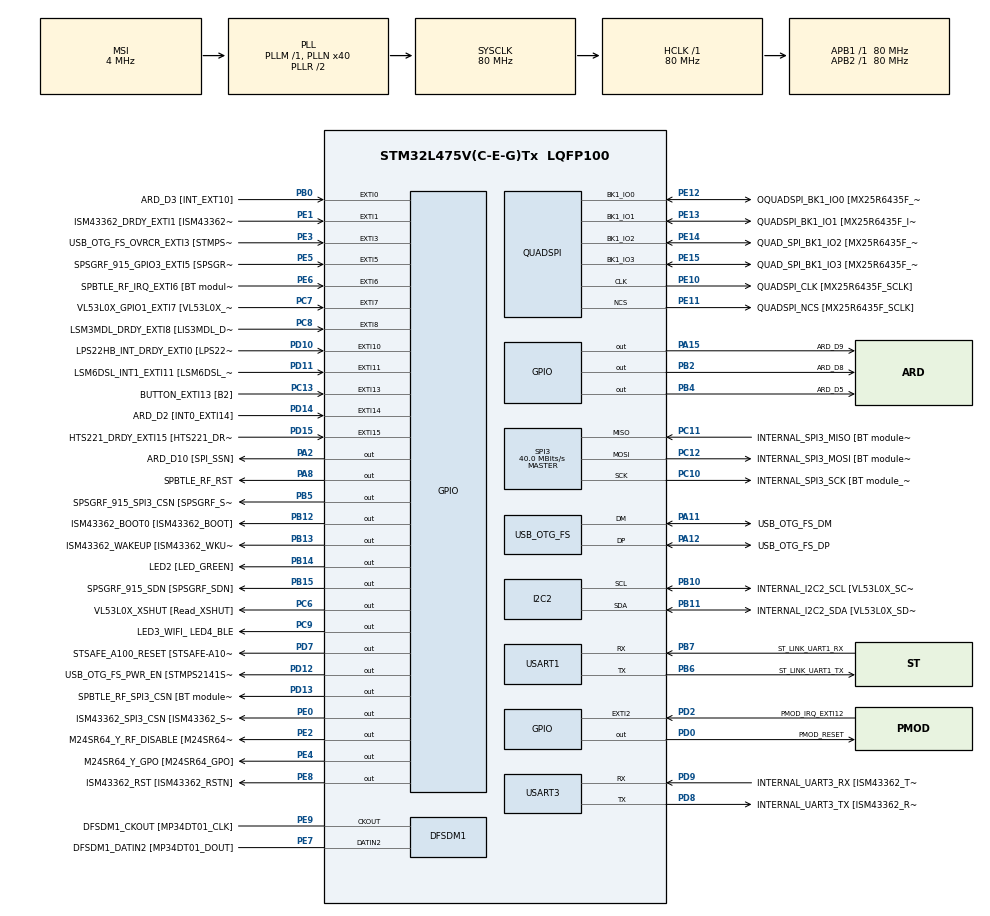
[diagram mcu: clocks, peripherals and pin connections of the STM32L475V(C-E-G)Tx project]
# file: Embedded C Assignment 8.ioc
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Mcu.Family=STM32L4
Mcu.Name=STM32L475V(C-E-G)Tx
Mcu.Package=LQFP100
NVIC.EXTI15_10_IRQn=true\:0\:0\:false\:false\:true\:true\:true\:true
NVIC.EXTI9_5_IRQn=true\:0\:0\:false\:false\:true\:true\:true\:true
NVIC.PriorityGroup=NVIC_PRIORITYGROUP_4
PA0.GPIO_Label=ARD_D1 [UART4_TX]
PA0.Signal=UART4_TX
PA1.GPIO_Label=ARD_D0 [UART4_RX]
PA1.Signal=UART4_RX
PA10.GPIO_Label=USB_OTG_FS_ID
PA10.Signal=USB_OTG_FS_ID
PA11.GPIO_Label=USB_OTG_FS_DM
PA11.Mode=Device_Only
PA11.Signal=USB_OTG_FS_DM
PA12.GPIO_Label=USB_OTG_FS_DP
PA12.Mode=Device_Only
PA12.Signal=USB_OTG_FS_DP
PA13\ (JTMS-SWDIO).GPIO_Label=SYS_JTMS_SWDIO
PA13\ (JTMS-SWDIO).Mode=Serial_Wire
PA13\ (JTMS-SWDIO).Signal=SYS_JTMS-SWDIO
PA14\ (JTCK-SWCLK).GPIO_Label=SYS_JTCK_SWCLK
PA14\ (JTCK-SWCLK).Mode=Serial_Wire
PA14\ (JTCK-SWCLK).Signal=SYS_JTCK-SWCLK
PA15\ (JTDI).GPIO_Label=ARD_D9
PA15\ (JTDI).Signal=GPIO_Output
PA2.GPIO_Label=ARD_D10 [SPI_SSN]
PA2.Signal=GPIO_Output
PA3.GPIO_Label=ARD_D4
PA3.Signal=S_TIM2_CH4
PA4.GPIO_Label=ARD_D7
PA4.Signal=ADCx_IN9
PA5.GPIO_Label=ARD_D13 [SPI1_SCK]
PA5.Signal=SPI1_SCK
PA6.GPIO_Label=ARD_D12 [SPI1_MISO]
PA6.Signal=SPI1_MISO
PA7.GPIO_Label=ARD_D11 [SPI1_MOSI]
PA7.Signal=SPI1_MOSI
PA8.GPIO_Label=SPBTLE_RF_RST
PA8.Signal=GPIO_Output
PA9.GPIO_Label=USB_OTG_FS_VBUS [STMPS2141STR_OUT]
PA9.Signal=USB_OTG_FS_VBUS
PB0.GPIO_Label=ARD_D3 [INT_EXT10]
PB0.Signal=GPXTI0
PB1.GPIO_Label=ARD_D6 [ADC1_IN6]
PB1.Signal=ADCx_IN16
PB10.GPIO_Label=INTERNAL_I2C2_SCL [VL53L0X_SCL]
PB10.GPIO_Pu=GPIO_PULLUP
PB10.Mode=I2C
PB10.Signal=I2C2_SCL
PB11.GPIO_Label=INTERNAL_I2C2_SDA [VL53L0X_SDA]
PB11.GPIO_Pu=GPIO_PULLUP
PB11.Mode=I2C
PB11.Signal=I2C2_SDA
PB12.GPIO_Label=ISM43362_BOOT0 [ISM43362_BOOT]
PB12.Signal=GPIO_Output
PB13.GPIO_Label=ISM43362_WAKEUP [ISM43362_WKUP]
PB13.Signal=GPIO_Output
PB14.GPIO_Label=LED2 [LED_GREEN]
PB14.Signal=GPIO_Output
PB15.GPIO_Label=SPSGRF_915_SDN [SPSGRF_SDN]
PB15.Signal=GPIO_Output
PB2.GPIO_Label=ARD_D8
PB2.Signal=GPIO_Output
PB3\ (JTDO-TRACESWO).GPIO_Label=SYS_JTD0_SWO
PB3\ (JTDO-TRACESWO).Signal=SYS_JTDO-SWO
PB4\ (NJTRST).GPIO_Label=ARD_D5
PB4\ (NJTRST).Signal=GPIO_Output
PB5.GPIO_Label=SPSGRF_915_SPI3_CSN [SPSGRF_SPI_CS]
PB5.PinState=GPIO_PIN_SET
PB5.Signal=GPIO_Output
PB6.GPIO_Label=ST_LINK_UART1_TX
PB6.Mode=Asynchronous
PB6.Signal=USART1_TX
PB7.GPIO_Label=ST_LINK_UART1_RX
PB7.Mode=Asynchronous
PB7.Signal=USART1_RX
PB8.GPIO_Label=ARD_D15 [I2C1_SCL]
PB8.Signal=I2C1_SCL
PB9.GPIO_Label=ARD_D14 [I2C1_SDA]
PB9.Signal=I2C1_SDA
PC0.GPIO_Label=ARD_A5 [ADC]
PC0.Signal=ADCx_IN1
PC1.GPIO_Label=ARD_A4 [ADC]
PC1.Signal=ADCx_IN2
PC10.GPIO_Label=INTERNAL_SPI3_SCK [BT module_SPI_SCLK] [ISM43362_SCK]
PC10.Mode=Full_Duplex_Master
PC10.Signal=SPI3_SCK
PC11.GPIO_Label=INTERNAL_SPI3_MISO [BT module_SPI_MISO] [ISM43362_MISO]
PC11.Mode=Full_Duplex_Master
PC11.Signal=SPI3_MISO
PC12.GPIO_Label=INTERNAL_SPI3_MOSI [BT module_SPI_MOSI] [ISM43362_MOSI]
PC12.Mode=Full_Duplex_Master
PC12.Signal=SPI3_MOSI
PC13.GPIO_Label=BUTTON_EXTI13 [B2]
PC13.GPIO_ModeDefaultEXTI=GPIO_MODE_IT_FALLING
PC13.Signal=GPXTI13
PC14-OSC32_IN\ (PC14).Mode=LSE-External-Oscillator
PC14-OSC32_IN\ (PC14).Signal=RCC_OSC32_IN
PC15-OSC32_OUT\ (PC15).Mode=LSE-External-Oscillator
PC15-OSC32_OUT\ (PC15).Signal=RCC_OSC32_OUT
PC2.GPIO_Label=ARD_A3 [ADC]
PC2.Signal=ADCx_IN3
PC3.GPIO_Label=ARD_A2 [ADC]
PC3.Signal=ADCx_IN4
PC4.GPIO_Label=ARD_A1 [ADC]
PC4.Signal=ADCx_IN13
PC5.GPIO_Label=ARD_A0 [ADC]
PC5.Signal=ADCx_IN14
PC6.GPIO_Label=VL53L0X_XSHUT [Read_XSHUT]
PC6.Signal=GPIO_Output
PC7.GPIO_Label=VL53L0X_GPIO1_EXTI7 [VL53L0X_GPIO1]
PC7.Signal=GPXTI7
PC8.GPIO_Label=LSM3MDL_DRDY_EXTI8 [LIS3MDL_DRDY]
PC8.Signal=GPXTI8
PC9.GPIO_Label=LED3_WIFI_ LED4_BLE
PC9.Signal=GPIO_Output
PD0.GPIO_Label=PMOD_RESET
PD0.Signal=GPIO_Output
PD1.GPIO_Label=PMOD_SPI2_SCK
PD1.Signal=SPI2_SCK
PD10.GPIO_Label=LPS22HB_INT_DRDY_EXTI0 [LPS22HB_INT_DRDY] 
PD10.Signal=GPXTI10
PD11.GPIO_Label=LSM6DSL_INT1_EXTI11 [LSM6DSL_INT1]
PD11.Signal=GPXTI11
PD12.GPIO_Label=USB_OTG_FS_PWR_EN [STMPS2141STR_EN]
PD12.Signal=GPIO_Output
PD13.GPIO_Label=SPBTLE_RF_SPI3_CSN [BT module_SPI_CS]
PD13.PinState=GPIO_PIN_SET
PD13.Signal=GPIO_Output
PD14.GPIO_Label=ARD_D2 [INT0_EXTI14]
PD14.Signal=GPXTI14
PD15.GPIO_Label=HTS221_DRDY_EXTI15 [HTS221_DRDY]
PD15.Signal=GPXTI15
PD2.GPIO_Label=PMOD_IRQ_EXTI12
PD2.Signal=GPXTI2
PD3.GPIO_Label=PMOD_UART2_CTS
PD3.Signal=USART2_CTS
PD4.GPIO_Label=PMOD_UART2_RTS
PD4.Signal=USART2_RTS
PD5.GPIO_Label=PMOD_UART2_TX
PD5.Signal=USART2_TX
PD6.GPIO_Label=PMOD_UART2_RX
PD6.Signal=USART2_RX
PD7.GPIO_Label=STSAFE_A100_RESET [STSAFE-A100_RESET]
PD7.Signal=GPIO_Output
PD8.GPIO_Label=INTERNAL_UART3_TX [ISM43362_RX]
PD8.Mode=Asynchronous
PD8.Signal=USART3_TX
PD9.GPIO_Label=INTERNAL_UART3_RX [ISM43362_TX]
PD9.Mode=Asynchronous
PD9.Signal=USART3_RX
PE0.GPIO_Label=ISM43362_SPI3_CSN [ISM43362_SSN]
PE0.PinState=GPIO_PIN_SET
PE0.Signal=GPIO_Output
PE1.GPIO_Label=ISM43362_DRDY_EXTI1 [ISM43362_DATARDY]
PE1.Signal=GPXTI1
PE10.GPIO_Label=QUADSPI_CLK [MX25R6435F_SCLK]
PE10.Mode=Single Bank
PE10.Signal=QUADSPI_CLK
PE11.GPIO_Label=QUADSPI_NCS [MX25R6435F_SCLK]
PE11.Mode=Single Bank
PE11.Signal=QUADSPI_NCS
PE12.GPIO_Label=OQUADSPI_BK1_IO0 [MX25R6435F_IO0]
PE12.Mode=Single Bank
PE12.Signal=QUADSPI_BK1_IO0
PE13.GPIO_Label=QUADSPI_BK1_IO1 [MX25R6435F_IO1]
PE13.Mode=Single Bank
PE13.Signal=QUADSPI_BK1_IO1
PE14.GPIO_Label=QUAD_SPI_BK1_IO2 [MX25R6435F_IO2]
PE14.Mode=Single Bank
PE14.Signal=QUADSPI_BK1_IO2
PE15.GPIO_Label=QUAD_SPI_BK1_IO3 [MX25R6435F_IO3]
PE15.Mode=Single Bank
PE15.Signal=QUADSPI_BK1_IO3
PE2.GPIO_Label=M24SR64_Y_RF_DISABLE [M24SR64_RFDIS]
PE2.Signal=GPIO_Output
PE3.GPIO_Label=USB_OTG_FS_OVRCR_EXTI3 [STMPS2141STR_FAULT]
PE3.Signal=GPXTI3
PE4.GPIO_Label=M24SR64_Y_GPO [M24SR64_GPO]
PE4.Signal=GPIO_Output
PE5.GPIO_Label=SPSGRF_915_GPIO3_EXTI5 [SPSGRF_GPIO_3]
PE5.Signal=GPXTI5
PE6.GPIO_Label=SPBTLE_RF_IRQ_EXTI6 [BT module_SPI_IRQ]
PE6.Signal=GPXTI6
PE7.GPIO_Label=DFSDM1_DATIN2 [MP34DT01_DOUT]
PE7.Signal=S_DATAIN2DFSDM1
PE8.GPIO_Label=ISM43362_RST [ISM43362_RSTN]
PE8.Signal=GPIO_Output
PE9.GPIO_Label=DFSDM1_CKOUT [MP34DT01_CLK]
PE9.Signal=S_CKOUTDFSDM1
ProjectManager.HeapSize=0x200
ProjectManager.StackSize=0x400
ProjectManager.TargetToolchain=STM32CubeIDE
QUADSPI.ClockPrescaler=2
QUADSPI.FifoThreshold=4
QUADSPI.FlashSize=23
QUADSPI.SampleShifting=QSPI_SAMPLE_SHIFTING_HALFCYCLE
RCC.ADCFreq_Value=48000000
RCC.AHBFreq_Value=80000000
RCC.APB1Freq_Value=80000000
RCC.APB1TimFreq_Value=80000000
RCC.APB2Freq_Value=80000000
RCC.APB2TimFreq_Value=80000000
RCC.CortexFreq_Value=80000000
RCC.HCLKFreq_Value=80000000
RCC.HSE_VALUE=8000000
RCC.HSI_VALUE=16000000
RCC.MSI_VALUE=4000000
RCC.PLLN=40
RCC.PLLSAI1N=24
RCC.SYSCLKFreq_VALUE=80000000
RCC.SYSCLKSource=RCC_SYSCLKSOURCE_PLLCLK
RCC.USBFreq_Value=48000000
RCC.VCOOutputFreq_Value=160000000
SH.ADCx_IN1.0=ADC1_IN1
SH.ADCx_IN13.0=ADC1_IN13
SH.ADCx_IN14.0=ADC1_IN14
SH.ADCx_IN16.0=ADC1_IN16
SH.ADCx_IN2.0=ADC1_IN2
SH.ADCx_IN3.0=ADC1_IN3
SH.ADCx_IN4.0=ADC1_IN4
SH.ADCx_IN9.0=ADC1_IN9
SH.S_CKOUTDFSDM1.0=DFSDM1_CKOUT,CKOUT
SH.S_CKOUTDFSDM1.1=DFSDM1_CKOUT,PDM_SPI_Input_from_ch12_and_Internal_Clock
SH.S_DATAIN2DFSDM1.0=DFSDM1_DATIN2,PDM_SPI_Input_from_ch12_and_Internal_Clock
SH.S_TIM2_CH4.0=TIM2_CH4
SPI3.CalculateBaudRate=40.0 MBits/s
SPI3.Direction=SPI_DIRECTION_2LINES
SPI3.Mode=SPI_MODE_MASTER
SPI3.VirtualType=VM_MASTER
USART1.VirtualMode-Asynchronous=VM_ASYNC
USART3.VirtualMode-Asynchronous=VM_ASYNC
USB_OTG_FS.VirtualMode=Device_Only
board=B-L475E-IOT01A2

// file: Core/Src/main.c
/* USER CODE BEGIN Header */
/**
  ******************************************************************************
  * @file           : main.c
  * @brief          : Main program body
  ******************************************************************************
  * @attention
  *
  * Copyright (c) 2023 STMicroelectronics.
  * All rights reserved.
  *
  * This software is licensed under terms that can be found in the LICENSE file
  * in the root directory of this software component.
  * If no LICENSE file comes with this software, it is provided AS-IS.
  *
  ******************************************************************************
  */
/* USER CODE END Header */
#include "main.h"

/* USER CODE BEGIN Includes */
#include <stdio.h>
#include <math.h>
#include "user_hts221.h"

/* USER CODE END Includes */

DFSDM_Channel_HandleTypeDef hdfsdm1_channel1;

I2C_HandleTypeDef hi2c2;

QSPI_HandleTypeDef hqspi;

SPI_HandleTypeDef hspi3;

UART_HandleTypeDef huart1;
UART_HandleTypeDef huart3;

PCD_HandleTypeDef hpcd_USB_OTG_FS;

void SystemClock_Config(void);
static void MX_GPIO_Init(void);
static void MX_DFSDM1_Init(void);
static void MX_I2C2_Init(void);
static void MX_QUADSPI_Init(void);
static void MX_SPI3_Init(void);
static void MX_USART1_UART_Init(void);
static void MX_USART3_UART_Init(void);
static void MX_USB_OTG_FS_PCD_Init(void);
/* USER CODE BEGIN PFP */
static void Temperature_Sensor_Init(uint16_t DeviceAddr);
static void Humidity_Sensor_Init(uint16_t DeviceAddr);
static void Sensor_Write_Multiple(uint8_t Addr, uint8_t Reg, uint8_t Value);
static uint8_t Sensor_Read(uint8_t Addr, uint8_t Reg);
static uint16_t Sensor_Read_Multiple(uint8_t Addr, uint8_t Reg, uint8_t *Buffer, uint16_t Length);
static HAL_StatusTypeDef I2Cx_WriteMultiple(I2C_HandleTypeDef *i2c_handler, uint8_t Addr, uint16_t Reg, uint16_t MemAddress, uint8_t *Buffer, uint16_t Length);
static HAL_StatusTypeDef I2Cx_ReadMultiple(I2C_HandleTypeDef *i2c_handler, uint8_t Addr, uint16_t Reg, uint16_t MemAddress, uint8_t *Buffer, uint16_t Length);
static float Read_Temp_Sensor(uint16_t DeviceAddr);
static float Read_Humidity_Sensor(uint16_t DeviceAddr);
/* USER CODE END PFP */

int main(void)
{

  /* MCU Configuration--------------------------------------------------------*/

  /* Reset of all peripherals, Initializes the Flash interface and the Systick. */
  HAL_Init();

  /* Configure the system clock */
  SystemClock_Config();

  /* Initialize all configured peripherals */
  MX_GPIO_Init();
  MX_DFSDM1_Init();
  MX_I2C2_Init();
  MX_QUADSPI_Init();
  MX_SPI3_Init();
  MX_USART1_UART_Init();
  MX_USART3_UART_Init();
  MX_USB_OTG_FS_PCD_Init();
  /* USER CODE BEGIN 2 */
  float temp_value = 0;
  float hum_value = 0;
  char str_tmp[100] = "";

  // HTS221 sensor init
  Humidity_Sensor_Init(HTS221_I2C_ADDRESS);
  Temperature_Sensor_Init(TSENSOR_I2C_ADDRESS);
  /* USER CODE END 2 */

  /* Infinite loop */
  while (1)
  {

    /* USER CODE BEGIN 3 */
	temp_value = Read_Temp_Sensor(TSENSOR_I2C_ADDRESS);
	int tmpInt1 = temp_value;
	float tmpFrac = temp_value - tmpInt1;
	int tmpInt2 = trunc(tmpFrac * 100);
	snprintf(str_tmp, 100, "TEMPERATURE = %d.%02d\n\r", tmpInt1, tmpInt2);
	HAL_UART_Transmit(&huart1, (uint8_t *)str_tmp, sizeof(str_tmp), 1000);

	hum_value = Read_Humidity_Sensor(HTS221_I2C_ADDRESS);
	int humInt1 = hum_value;
	float humFrac = hum_value - humInt1;
	int humInt2 = trunc(humFrac * 100);
	snprintf(str_tmp, 100, "HUMIDITY = %d.%02d\n\r", humInt1, humInt2);
	HAL_UART_Transmit(&huart1, (uint8_t *)str_tmp, sizeof(str_tmp), 1000);
	HAL_Delay(2000);
  }
  /* USER CODE END 3 */
}

void SystemClock_Config(void)
{
  RCC_OscInitTypeDef RCC_OscInitStruct = {0};
  RCC_ClkInitTypeDef RCC_ClkInitStruct = {0};

  /** Configure the main internal regulator output voltage
  */
  if (HAL_PWREx_ControlVoltageScaling(PWR_REGULATOR_VOLTAGE_SCALE1) != HAL_OK)
  {
    Error_Handler();
  }

  /** Configure LSE Drive Capability
  */
  HAL_PWR_EnableBkUpAccess();
  __HAL_RCC_LSEDRIVE_CONFIG(RCC_LSEDRIVE_LOW);

  /** Initializes the RCC Oscillators according to the specified parameters
  * in the RCC_OscInitTypeDef structure.
  */
  RCC_OscInitStruct.OscillatorType = RCC_OSCILLATORTYPE_LSE|RCC_OSCILLATORTYPE_MSI;
  RCC_OscInitStruct.LSEState = RCC_LSE_ON;
  RCC_OscInitStruct.MSIState = RCC_MSI_ON;
  RCC_OscInitStruct.MSICalibrationValue = 0;
  RCC_OscInitStruct.MSIClockRange = RCC_MSIRANGE_6;
  RCC_OscInitStruct.PLL.PLLState = RCC_PLL_ON;
  RCC_OscInitStruct.PLL.PLLSource = RCC_PLLSOURCE_MSI;
  RCC_OscInitStruct.PLL.PLLM = 1;
  RCC_OscInitStruct.PLL.PLLN = 40;
  RCC_OscInitStruct.PLL.PLLP = RCC_PLLP_DIV7;
  RCC_OscInitStruct.PLL.PLLQ = RCC_PLLQ_DIV2;
  RCC_OscInitStruct.PLL.PLLR = RCC_PLLR_DIV2;
  if (HAL_RCC_OscConfig(&RCC_OscInitStruct) != HAL_OK)
  {
    Error_Handler();
  }

  /** Initializes the CPU, AHB and APB buses clocks
  */
  RCC_ClkInitStruct.ClockType = RCC_CLOCKTYPE_HCLK|RCC_CLOCKTYPE_SYSCLK
                              |RCC_CLOCKTYPE_PCLK1|RCC_CLOCKTYPE_PCLK2;
  RCC_ClkInitStruct.SYSCLKSource = RCC_SYSCLKSOURCE_PLLCLK;
  RCC_ClkInitStruct.AHBCLKDivider = RCC_SYSCLK_DIV1;
  RCC_ClkInitStruct.APB1CLKDivider = RCC_HCLK_DIV1;
  RCC_ClkInitStruct.APB2CLKDivider = RCC_HCLK_DIV1;

  if (HAL_RCC_ClockConfig(&RCC_ClkInitStruct, FLASH_LATENCY_4) != HAL_OK)
  {
    Error_Handler();
  }

  /** Enable MSI Auto calibration
  */
  HAL_RCCEx_EnableMSIPLLMode();
}

static void MX_DFSDM1_Init(void)
{

  hdfsdm1_channel1.Instance = DFSDM1_Channel1;
  hdfsdm1_channel1.Init.OutputClock.Activation = ENABLE;
  hdfsdm1_channel1.Init.OutputClock.Selection = DFSDM_CHANNEL_OUTPUT_CLOCK_SYSTEM;
  hdfsdm1_channel1.Init.OutputClock.Divider = 2;
  hdfsdm1_channel1.Init.Input.Multiplexer = DFSDM_CHANNEL_EXTERNAL_INPUTS;
  hdfsdm1_channel1.Init.Input.DataPacking = DFSDM_CHANNEL_STANDARD_MODE;
  hdfsdm1_channel1.Init.Input.Pins = DFSDM_CHANNEL_FOLLOWING_CHANNEL_PINS;
  hdfsdm1_channel1.Init.SerialInterface.Type = DFSDM_CHANNEL_SPI_RISING;
  hdfsdm1_channel1.Init.SerialInterface.SpiClock = DFSDM_CHANNEL_SPI_CLOCK_INTERNAL;
  hdfsdm1_channel1.Init.Awd.FilterOrder = DFSDM_CHANNEL_FASTSINC_ORDER;
  hdfsdm1_channel1.Init.Awd.Oversampling = 1;
  hdfsdm1_channel1.Init.Offset = 0;
  hdfsdm1_channel1.Init.RightBitShift = 0x00;
  if (HAL_DFSDM_ChannelInit(&hdfsdm1_channel1) != HAL_OK)
  {
    Error_Handler();
  }

}

static void MX_I2C2_Init(void)
{

  hi2c2.Instance = I2C2;
  hi2c2.Init.Timing = 0x00000E14;
  hi2c2.Init.OwnAddress1 = 0;
  hi2c2.Init.AddressingMode = I2C_ADDRESSINGMODE_7BIT;
  hi2c2.Init.DualAddressMode = I2C_DUALADDRESS_DISABLE;
  hi2c2.Init.OwnAddress2 = 0;
  hi2c2.Init.OwnAddress2Masks = I2C_OA2_NOMASK;
  hi2c2.Init.GeneralCallMode = I2C_GENERALCALL_DISABLE;
  hi2c2.Init.NoStretchMode = I2C_NOSTRETCH_DISABLE;
  if (HAL_I2C_Init(&hi2c2) != HAL_OK)
  {
    Error_Handler();
  }

  /** Configure Analogue filter
  */
  if (HAL_I2CEx_ConfigAnalogFilter(&hi2c2, I2C_ANALOGFILTER_ENABLE) != HAL_OK)
  {
    Error_Handler();
  }

  /** Configure Digital filter
  */
  if (HAL_I2CEx_ConfigDigitalFilter(&hi2c2, 0) != HAL_OK)
  {
    Error_Handler();
  }

}

static void MX_QUADSPI_Init(void)
{

  /* QUADSPI parameter configuration*/
  hqspi.Instance = QUADSPI;
  hqspi.Init.ClockPrescaler = 2;
  hqspi.Init.FifoThreshold = 4;
  hqspi.Init.SampleShifting = QSPI_SAMPLE_SHIFTING_HALFCYCLE;
  hqspi.Init.FlashSize = 23;
  hqspi.Init.ChipSelectHighTime = QSPI_CS_HIGH_TIME_1_CYCLE;
  hqspi.Init.ClockMode = QSPI_CLOCK_MODE_0;
  if (HAL_QSPI_Init(&hqspi) != HAL_OK)
  {
    Error_Handler();
  }

}

static void MX_SPI3_Init(void)
{

  /* SPI3 parameter configuration*/
  hspi3.Instance = SPI3;
  hspi3.Init.Mode = SPI_MODE_MASTER;
  hspi3.Init.Direction = SPI_DIRECTION_2LINES;
  hspi3.Init.DataSize = SPI_DATASIZE_4BIT;
  hspi3.Init.CLKPolarity = SPI_POLARITY_LOW;
  hspi3.Init.CLKPhase = SPI_PHASE_1EDGE;
  hspi3.Init.NSS = SPI_NSS_SOFT;
  hspi3.Init.BaudRatePrescaler = SPI_BAUDRATEPRESCALER_2;
  hspi3.Init.FirstBit = SPI_FIRSTBIT_MSB;
  hspi3.Init.TIMode = SPI_TIMODE_DISABLE;
  hspi3.Init.CRCCalculation = SPI_CRCCALCULATION_DISABLE;
  hspi3.Init.CRCPolynomial = 7;
  hspi3.Init.CRCLength = SPI_CRC_LENGTH_DATASIZE;
  hspi3.Init.NSSPMode = SPI_NSS_PULSE_ENABLE;
  if (HAL_SPI_Init(&hspi3) != HAL_OK)
  {
    Error_Handler();
  }

}

static void MX_USART1_UART_Init(void)
{

  huart1.Instance = USART1;
  huart1.Init.BaudRate = 115200;
  huart1.Init.WordLength = UART_WORDLENGTH_8B;
  huart1.Init.StopBits = UART_STOPBITS_1;
  huart1.Init.Parity = UART_PARITY_NONE;
  huart1.Init.Mode = UART_MODE_TX_RX;
  huart1.Init.HwFlowCtl = UART_HWCONTROL_NONE;
  huart1.Init.OverSampling = UART_OVERSAMPLING_16;
  huart1.Init.OneBitSampling = UART_ONE_BIT_SAMPLE_DISABLE;
  huart1.AdvancedInit.AdvFeatureInit = UART_ADVFEATURE_NO_INIT;
  if (HAL_UART_Init(&huart1) != HAL_OK)
  {
    Error_Handler();
  }

}

static void MX_USART3_UART_Init(void)
{

  huart3.Instance = USART3;
  huart3.Init.BaudRate = 115200;
  huart3.Init.WordLength = UART_WORDLENGTH_8B;
  huart3.Init.StopBits = UART_STOPBITS_1;
  huart3.Init.Parity = UART_PARITY_NONE;
  huart3.Init.Mode = UART_MODE_TX_RX;
  huart3.Init.HwFlowCtl = UART_HWCONTROL_NONE;
  huart3.Init.OverSampling = UART_OVERSAMPLING_16;
  huart3.Init.OneBitSampling = UART_ONE_BIT_SAMPLE_DISABLE;
  huart3.AdvancedInit.AdvFeatureInit = UART_ADVFEATURE_NO_INIT;
  if (HAL_UART_Init(&huart3) != HAL_OK)
  {
    Error_Handler();
  }

}

static void MX_USB_OTG_FS_PCD_Init(void)
{

  hpcd_USB_OTG_FS.Instance = USB_OTG_FS;
  hpcd_USB_OTG_FS.Init.dev_endpoints = 6;
  hpcd_USB_OTG_FS.Init.speed = PCD_SPEED_FULL;
  hpcd_USB_OTG_FS.Init.phy_itface = PCD_PHY_EMBEDDED;
  hpcd_USB_OTG_FS.Init.Sof_enable = DISABLE;
  hpcd_USB_OTG_FS.Init.low_power_enable = DISABLE;
  hpcd_USB_OTG_FS.Init.lpm_enable = DISABLE;
  hpcd_USB_OTG_FS.Init.battery_charging_enable = DISABLE;
  hpcd_USB_OTG_FS.Init.use_dedicated_ep1 = DISABLE;
  hpcd_USB_OTG_FS.Init.vbus_sensing_enable = DISABLE;
  if (HAL_PCD_Init(&hpcd_USB_OTG_FS) != HAL_OK)
  {
    Error_Handler();
  }

}

static void MX_GPIO_Init(void)
{
  GPIO_InitTypeDef GPIO_InitStruct = {0};

  /* GPIO Ports Clock Enable */
  __HAL_RCC_GPIOE_CLK_ENABLE();
  __HAL_RCC_GPIOC_CLK_ENABLE();
  __HAL_RCC_GPIOA_CLK_ENABLE();
  __HAL_RCC_GPIOB_CLK_ENABLE();
  __HAL_RCC_GPIOD_CLK_ENABLE();

  /*Configure GPIO pin Output Level */
  HAL_GPIO_WritePin(GPIOE, M24SR64_Y_RF_DISABLE_Pin|M24SR64_Y_GPO_Pin|ISM43362_RST_Pin, GPIO_PIN_RESET);

  /*Configure GPIO pin Output Level */
  HAL_GPIO_WritePin(GPIOA, ARD_D10_Pin|SPBTLE_RF_RST_Pin|ARD_D9_Pin, GPIO_PIN_RESET);

  /*Configure GPIO pin Output Level */
  HAL_GPIO_WritePin(GPIOB, ARD_D8_Pin|ISM43362_BOOT0_Pin|ISM43362_WAKEUP_Pin|LED2_Pin
                          |SPSGRF_915_SDN_Pin|ARD_D5_Pin, GPIO_PIN_RESET);

  /*Configure GPIO pin Output Level */
  HAL_GPIO_WritePin(GPIOD, USB_OTG_FS_PWR_EN_Pin|PMOD_RESET_Pin|STSAFE_A100_RESET_Pin, GPIO_PIN_RESET);

  /*Configure GPIO pin Output Level */
  HAL_GPIO_WritePin(SPBTLE_RF_SPI3_CSN_GPIO_Port, SPBTLE_RF_SPI3_CSN_Pin, GPIO_PIN_SET);

  /*Configure GPIO pin Output Level */
  HAL_GPIO_WritePin(GPIOC, VL53L0X_XSHUT_Pin|LED3_WIFI__LED4_BLE_Pin, GPIO_PIN_RESET);

  /*Configure GPIO pin Output Level */
  HAL_GPIO_WritePin(SPSGRF_915_SPI3_CSN_GPIO_Port, SPSGRF_915_SPI3_CSN_Pin, GPIO_PIN_SET);

  /*Configure GPIO pin Output Level */
  HAL_GPIO_WritePin(ISM43362_SPI3_CSN_GPIO_Port, ISM43362_SPI3_CSN_Pin, GPIO_PIN_SET);

  /*Configure GPIO pins : M24SR64_Y_RF_DISABLE_Pin M24SR64_Y_GPO_Pin ISM43362_RST_Pin ISM43362_SPI3_CSN_Pin */
  GPIO_InitStruct.Pin = M24SR64_Y_RF_DISABLE_Pin|M24SR64_Y_GPO_Pin|ISM43362_RST_Pin|ISM43362_SPI3_CSN_Pin;
  GPIO_InitStruct.Mode = GPIO_MODE_OUTPUT_PP;
  GPIO_InitStruct.Pull = GPIO_NOPULL;
  GPIO_InitStruct.Speed = GPIO_SPEED_FREQ_LOW;
  HAL_GPIO_Init(GPIOE, &GPIO_InitStruct);

  /*Configure GPIO pins : USB_OTG_FS_OVRCR_EXTI3_Pin SPSGRF_915_GPIO3_EXTI5_Pin SPBTLE_RF_IRQ_EXTI6_Pin ISM43362_DRDY_EXTI1_Pin */
  GPIO_InitStruct.Pin = USB_OTG_FS_OVRCR_EXTI3_Pin|SPSGRF_915_GPIO3_EXTI5_Pin|SPBTLE_RF_IRQ_EXTI6_Pin|ISM43362_DRDY_EXTI1_Pin;
  GPIO_InitStruct.Mode = GPIO_MODE_IT_RISING;
  GPIO_InitStruct.Pull = GPIO_NOPULL;
  HAL_GPIO_Init(GPIOE, &GPIO_InitStruct);

  /*Configure GPIO pin : BUTTON_EXTI13_Pin */
  GPIO_InitStruct.Pin = BUTTON_EXTI13_Pin;
  GPIO_InitStruct.Mode = GPIO_MODE_IT_FALLING;
  GPIO_InitStruct.Pull = GPIO_NOPULL;
  HAL_GPIO_Init(BUTTON_EXTI13_GPIO_Port, &GPIO_InitStruct);

  /*Configure GPIO pins : ARD_A5_Pin ARD_A4_Pin ARD_A3_Pin ARD_A2_Pin
                           ARD_A1_Pin ARD_A0_Pin */
  GPIO_InitStruct.Pin = ARD_A5_Pin|ARD_A4_Pin|ARD_A3_Pin|ARD_A2_Pin
                          |ARD_A1_Pin|ARD_A0_Pin;
  GPIO_InitStruct.Mode = GPIO_MODE_ANALOG_ADC_CONTROL;
  GPIO_InitStruct.Pull = GPIO_NOPULL;
  HAL_GPIO_Init(GPIOC, &GPIO_InitStruct);

  /*Configure GPIO pins : ARD_D1_Pin ARD_D0_Pin */
  GPIO_InitStruct.Pin = ARD_D1_Pin|ARD_D0_Pin;
  GPIO_InitStruct.Mode = GPIO_MODE_AF_PP;
  GPIO_InitStruct.Pull = GPIO_NOPULL;
  GPIO_InitStruct.Speed = GPIO_SPEED_FREQ_VERY_HIGH;
  GPIO_InitStruct.Alternate = GPIO_AF8_UART4;
  HAL_GPIO_Init(GPIOA, &GPIO_InitStruct);

  /*Configure GPIO pins : ARD_D10_Pin SPBTLE_RF_RST_Pin ARD_D9_Pin */
  GPIO_InitStruct.Pin = ARD_D10_Pin|SPBTLE_RF_RST_Pin|ARD_D9_Pin;
  GPIO_InitStruct.Mode = GPIO_MODE_OUTPUT_PP;
  GPIO_InitStruct.Pull = GPIO_NOPULL;
  GPIO_InitStruct.Speed = GPIO_SPEED_FREQ_LOW;
  HAL_GPIO_Init(GPIOA, &GPIO_InitStruct);

  /*Configure GPIO pin : ARD_D4_Pin */
  GPIO_InitStruct.Pin = ARD_D4_Pin;
  GPIO_InitStruct.Mode = GPIO_MODE_AF_PP;
  GPIO_InitStruct.Pull = GPIO_NOPULL;
  GPIO_InitStruct.Speed = GPIO_SPEED_FREQ_LOW;
  GPIO_InitStruct.Alternate = GPIO_AF1_TIM2;
  HAL_GPIO_Init(ARD_D4_GPIO_Port, &GPIO_InitStruct);

  /*Configure GPIO pin : ARD_D7_Pin */
  GPIO_InitStruct.Pin = ARD_D7_Pin;
  GPIO_InitStruct.Mode = GPIO_MODE_ANALOG_ADC_CONTROL;
  GPIO_InitStruct.Pull = GPIO_NOPULL;
  HAL_GPIO_Init(ARD_D7_GPIO_Port, &GPIO_InitStruct);

  /*Configure GPIO pins : ARD_D13_Pin ARD_D12_Pin ARD_D11_Pin */
  GPIO_InitStruct.Pin = ARD_D13_Pin|ARD_D12_Pin|ARD_D11_Pin;
  GPIO_InitStruct.Mode = GPIO_MODE_AF_PP;
  GPIO_InitStruct.Pull = GPIO_NOPULL;
  GPIO_InitStruct.Speed = GPIO_SPEED_FREQ_VERY_HIGH;
  GPIO_InitStruct.Alternate = GPIO_AF5_SPI1;
  HAL_GPIO_Init(GPIOA, &GPIO_InitStruct);

  /*Configure GPIO pin : ARD_D3_Pin */
  GPIO_InitStruct.Pin = ARD_D3_Pin;
  GPIO_InitStruct.Mode = GPIO_MODE_IT_RISING;
  GPIO_InitStruct.Pull = GPIO_NOPULL;
  HAL_GPIO_Init(ARD_D3_GPIO_Port, &GPIO_InitStruct);

  /*Configure GPIO pin : ARD_D6_Pin */
  GPIO_InitStruct.Pin = ARD_D6_Pin;
  GPIO_InitStruct.Mode = GPIO_MODE_ANALOG_ADC_CONTROL;
  GPIO_InitStruct.Pull = GPIO_NOPULL;
  HAL_GPIO_Init(ARD_D6_GPIO_Port, &GPIO_InitStruct);

  /*Configure GPIO pins : ARD_D8_Pin ISM43362_BOOT0_Pin ISM43362_WAKEUP_Pin LED2_Pin
                           SPSGRF_915_SDN_Pin ARD_D5_Pin SPSGRF_915_SPI3_CSN_Pin */
  GPIO_InitStruct.Pin = ARD_D8_Pin|ISM43362_BOOT0_Pin|ISM43362_WAKEUP_Pin|LED2_Pin
                          |SPSGRF_915_SDN_Pin|ARD_D5_Pin|SPSGRF_915_SPI3_CSN_Pin;
  GPIO_InitStruct.Mode = GPIO_MODE_OUTPUT_PP;
  GPIO_InitStruct.Pull = GPIO_NOPULL;
  GPIO_InitStruct.Speed = GPIO_SPEED_FREQ_LOW;
  HAL_GPIO_Init(GPIOB, &GPIO_InitStruct);

  /*Configure GPIO pins : LPS22HB_INT_DRDY_EXTI0_Pin LSM6DSL_INT1_EXTI11_Pin ARD_D2_Pin HTS221_DRDY_EXTI15_Pin
                           PMOD_IRQ_EXTI12_Pin */
  GPIO_InitStruct.Pin = LPS22HB_INT_DRDY_EXTI0_Pin|LSM6DSL_INT1_EXTI11_Pin|ARD_D2_Pin|HTS221_DRDY_EXTI15_Pin
                          |PMOD_IRQ_EXTI12_Pin;
  GPIO_InitStruct.Mode = GPIO_MODE_IT_RISING;
  GPIO_InitStruct.Pull = GPIO_NOPULL;
  HAL_GPIO_Init(GPIOD, &GPIO_InitStruct);

  /*Configure GPIO pins : USB_OTG_FS_PWR_EN_Pin SPBTLE_RF_SPI3_CSN_Pin PMOD_RESET_Pin STSAFE_A100_RESET_Pin */
  GPIO_InitStruct.Pin = USB_OTG_FS_PWR_EN_Pin|SPBTLE_RF_SPI3_CSN_Pin|PMOD_RESET_Pin|STSAFE_A100_RESET_Pin;
  GPIO_InitStruct.Mode = GPIO_MODE_OUTPUT_PP;
  GPIO_InitStruct.Pull = GPIO_NOPULL;
  GPIO_InitStruct.Speed = GPIO_SPEED_FREQ_LOW;
  HAL_GPIO_Init(GPIOD, &GPIO_InitStruct);

  /*Configure GPIO pins : VL53L0X_XSHUT_Pin LED3_WIFI__LED4_BLE_Pin */
  GPIO_InitStruct.Pin = VL53L0X_XSHUT_Pin|LED3_WIFI__LED4_BLE_Pin;
  GPIO_InitStruct.Mode = GPIO_MODE_OUTPUT_PP;
  GPIO_InitStruct.Pull = GPIO_NOPULL;
  GPIO_InitStruct.Speed = GPIO_SPEED_FREQ_LOW;
  HAL_GPIO_Init(GPIOC, &GPIO_InitStruct);

  /*Configure GPIO pins : VL53L0X_GPIO1_EXTI7_Pin LSM3MDL_DRDY_EXTI8_Pin */
  GPIO_InitStruct.Pin = VL53L0X_GPIO1_EXTI7_Pin|LSM3MDL_DRDY_EXTI8_Pin;
  GPIO_InitStruct.Mode = GPIO_MODE_IT_RISING;
  GPIO_InitStruct.Pull = GPIO_NOPULL;
  HAL_GPIO_Init(GPIOC, &GPIO_InitStruct);

  /*Configure GPIO pin : PMOD_SPI2_SCK_Pin */
  GPIO_InitStruct.Pin = PMOD_SPI2_SCK_Pin;
  GPIO_InitStruct.Mode = GPIO_MODE_AF_PP;
  GPIO_InitStruct.Pull = GPIO_NOPULL;
  GPIO_InitStruct.Speed = GPIO_SPEED_FREQ_VERY_HIGH;
  GPIO_InitStruct.Alternate = GPIO_AF5_SPI2;
  HAL_GPIO_Init(PMOD_SPI2_SCK_GPIO_Port, &GPIO_InitStruct);

  /*Configure GPIO pins : PMOD_UART2_CTS_Pin PMOD_UART2_RTS_Pin PMOD_UART2_TX_Pin PMOD_UART2_RX_Pin */
  GPIO_InitStruct.Pin = PMOD_UART2_CTS_Pin|PMOD_UART2_RTS_Pin|PMOD_UART2_TX_Pin|PMOD_UART2_RX_Pin;
  GPIO_InitStruct.Mode = GPIO_MODE_AF_PP;
  GPIO_InitStruct.Pull = GPIO_NOPULL;
  GPIO_InitStruct.Speed = GPIO_SPEED_FREQ_VERY_HIGH;
  GPIO_InitStruct.Alternate = GPIO_AF7_USART2;
  HAL_GPIO_Init(GPIOD, &GPIO_InitStruct);

  /*Configure GPIO pins : ARD_D15_Pin ARD_D14_Pin */
  GPIO_InitStruct.Pin = ARD_D15_Pin|ARD_D14_Pin;
  GPIO_InitStruct.Mode = GPIO_MODE_AF_OD;
  GPIO_InitStruct.Pull = GPIO_NOPULL;
  GPIO_InitStruct.Speed = GPIO_SPEED_FREQ_VERY_HIGH;
  GPIO_InitStruct.Alternate = GPIO_AF4_I2C1;
  HAL_GPIO_Init(GPIOB, &GPIO_InitStruct);

  /* EXTI interrupt init*/
  HAL_NVIC_SetPriority(EXTI9_5_IRQn, 0, 0);
  HAL_NVIC_EnableIRQ(EXTI9_5_IRQn);

  HAL_NVIC_SetPriority(EXTI15_10_IRQn, 0, 0);
  HAL_NVIC_EnableIRQ(EXTI15_10_IRQn);

}

/* USER CODE BEGIN 4 */
static HAL_StatusTypeDef I2Cx_ReadMultiple(I2C_HandleTypeDef *i2c_handler, uint8_t Addr, uint16_t Reg, uint16_t MemAddress, uint8_t *Buffer, uint16_t Length)
{
  HAL_StatusTypeDef status = HAL_OK;

  status = HAL_I2C_Mem_Read(i2c_handler, Addr, (uint16_t)Reg, MemAddress, Buffer, Length, 1000);

  /* Check the communication status */
  if(status != HAL_OK)
  {
	/* De-initialize the I2C communication bus */
	HAL_I2C_DeInit(&hi2c2);
  }
  return status;
}

static HAL_StatusTypeDef I2Cx_WriteMultiple(I2C_HandleTypeDef *i2c_handler, uint8_t Addr, uint16_t Reg, uint16_t MemAddress, uint8_t *Buffer, uint16_t Length)
{
  HAL_StatusTypeDef status = HAL_OK;

  status = HAL_I2C_Mem_Write(i2c_handler, Addr, (uint16_t)Reg, MemAddress, Buffer, Length, 1000);

  /* Check the communication status */
  if(status != HAL_OK)
  {
	/* De-initialize the I2C communication bus */
	HAL_I2C_DeInit(&hi2c2);
  }
  return status;
}

static uint8_t Sensor_Read(uint8_t Addr, uint8_t Reg)
{
  uint8_t read_value = 0;

  I2Cx_ReadMultiple(&hi2c2, Addr, Reg, I2C_MEMADD_SIZE_8BIT, (uint8_t*)&read_value, 1);

  return read_value;
}

static uint16_t Sensor_Read_Multiple(uint8_t Addr, uint8_t Reg, uint8_t *Buffer, uint16_t Length)
{
 return I2Cx_ReadMultiple(&hi2c2, Addr, (uint16_t)Reg, I2C_MEMADD_SIZE_8BIT, Buffer, Length);
}

static void Sensor_Write_Multiple(uint8_t Addr, uint8_t Reg, uint8_t Value)
{
	I2Cx_WriteMultiple(&hi2c2, Addr, (uint16_t)Reg, I2C_MEMADD_SIZE_8BIT,(uint8_t*)&Value, 1);
}

static void Temperature_Sensor_Init(uint16_t DeviceAddr)
{
	 uint8_t tmp;

	/* Read CTRL_REG1 */
	tmp = Sensor_Read(DeviceAddr, HTS221_CTRL_REG1);

	/* Enable BDU */
	tmp &= ~HTS221_BDU_MASK;
	tmp |= (1 << HTS221_BDU_BIT);

	/* Set default ODR */
	tmp &= ~HTS221_ODR_MASK;
	tmp |= (uint8_t)0x01; /* Set ODR to 1Hz */

	/* Activate the device */
	tmp |= HTS221_PD_MASK;

	/* Apply settings to CTRL_REG1 */
	Sensor_Write_Multiple(DeviceAddr, HTS221_CTRL_REG1, tmp);
}

static void Humidity_Sensor_Init(uint16_t DeviceAddr)
{
	uint8_t tmp;

	/* Read CTRL_REG1 */
	tmp = Sensor_Read(DeviceAddr, HTS221_CTRL_REG1);

	/* Enable BDU */
	tmp &= ~HTS221_BDU_MASK;
	tmp |= (1 << HTS221_BDU_BIT);

	/* Set default ODR */
	tmp &= ~HTS221_ODR_MASK;
	tmp |= (uint8_t)0x01; /* Set ODR to 1Hz */

	/* Activate the device */
	tmp |= HTS221_PD_MASK;

	/* Apply settings to CTRL_REG1 */
	Sensor_Write_Multiple(DeviceAddr, HTS221_CTRL_REG1, tmp);
}

static float Read_Temp_Sensor(uint16_t DeviceAddr)
{
  int16_t T0_out, T1_out, T_out, T0_degC_x8_u16, T1_degC_x8_u16;
  int16_t T0_degC, T1_degC;
  uint8_t buffer[4], tmp;
  float tmp_f;

  Sensor_Read_Multiple(DeviceAddr, (HTS221_T0_DEGC_X8 | 0x80), buffer, 2);
  tmp = Sensor_Read(DeviceAddr, HTS221_T0_T1_DEGC_H2);

  T0_degC_x8_u16 = (((uint16_t)(tmp & 0x03)) << 8) | ((uint16_t)buffer[0]);
  T1_degC_x8_u16 = (((uint16_t)(tmp & 0x0C)) << 6) | ((uint16_t)buffer[1]);
  T0_degC = T0_degC_x8_u16 >> 3;
  T1_degC = T1_degC_x8_u16 >> 3;

  Sensor_Read_Multiple(DeviceAddr, (HTS221_T0_OUT_L | 0x80), buffer, 4);

  T0_out = (((uint16_t)buffer[1]) << 8) | (uint16_t)buffer[0];
  T1_out = (((uint16_t)buffer[3]) << 8) | (uint16_t)buffer[2];

  Sensor_Read_Multiple(DeviceAddr, (HTS221_TEMP_OUT_L_REG | 0x80), buffer, 2);

  T_out = (((uint16_t)buffer[1]) << 8) | (uint16_t)buffer[0];

  tmp_f = (float)(T_out - T0_out) * (float)(T1_degC - T0_degC) / (float)(T1_out - T0_out)  +  T0_degC;

  return tmp_f;
}

static float Read_Humidity_Sensor(uint16_t DeviceAddr)
{
  int16_t H0_T0_out, H1_T0_out, H_T_out;
  int16_t H0_rh, H1_rh;
  uint8_t buffer[2];
  float tmp_f;

  Sensor_Read_Multiple(DeviceAddr, (HTS221_H0_RH_X2 | 0x80), buffer, 2);

  H0_rh = buffer[0] >> 1;
  H1_rh = buffer[1] >> 1;

  Sensor_Read_Multiple(DeviceAddr, (HTS221_H0_T0_OUT_L | 0x80), buffer, 2);

  H0_T0_out = (((uint16_t)buffer[1]) << 8) | (uint16_t)buffer[0];

  Sensor_Read_Multiple(DeviceAddr, (HTS221_H1_T0_OUT_L | 0x80), buffer, 2);

  H1_T0_out = (((uint16_t)buffer[1]) << 8) | (uint16_t)buffer[0];

  Sensor_Read_Multiple(DeviceAddr, (HTS221_HR_OUT_L_REG | 0x80), buffer, 2);

  H_T_out = (((uint16_t)buffer[1]) << 8) | (uint16_t)buffer[0];

  tmp_f = (float)(H_T_out - H0_T0_out) * (float)(H1_rh - H0_rh) / (float)(H1_T0_out - H0_T0_out)  +  H0_rh;
  tmp_f *= 10.0f;

  tmp_f = ( tmp_f > 1000.0f ) ? 1000.0f
        : ( tmp_f <    0.0f ) ?    0.0f
        : tmp_f;

  return (tmp_f / 10.0f);
}

/* USER CODE END 4 */

void Error_Handler(void)
{
  __disable_irq();
  while (1)
  {
  }
}
